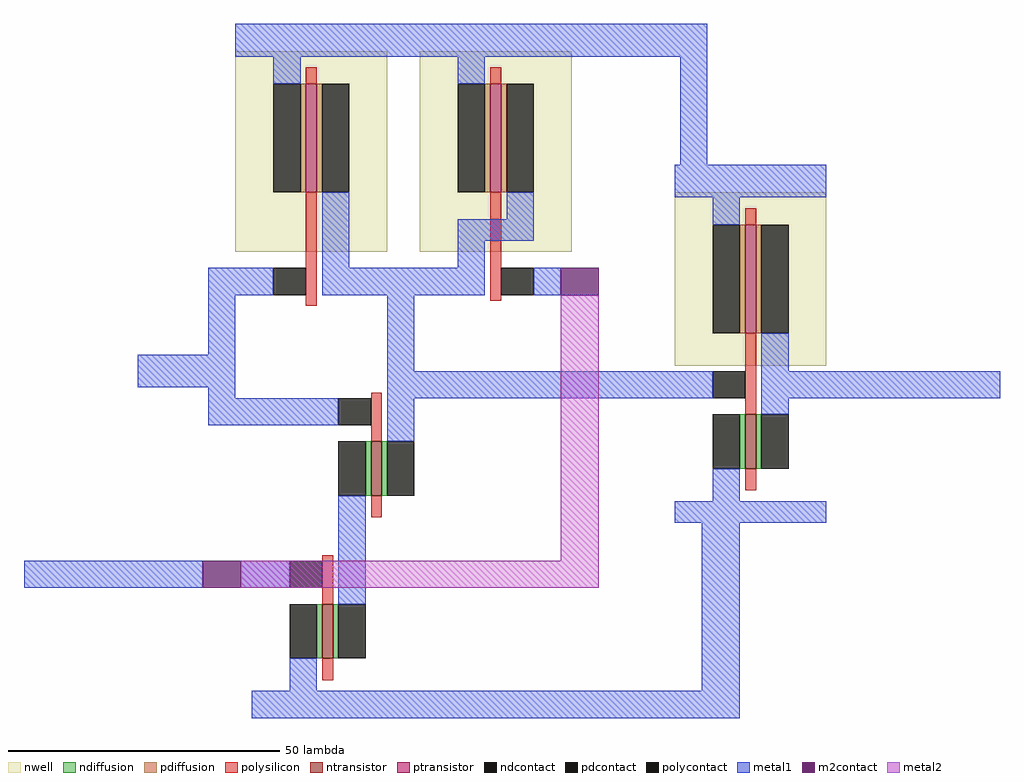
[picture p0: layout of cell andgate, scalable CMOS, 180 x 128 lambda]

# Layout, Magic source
magic
tech scmos
<< nwell >>
rect -76 50 -48 87
rect -42 50 -14 87
<< ntransistor >>
rect -51 5 -49 15
rect -60 -25 -58 -15
<< ptransistor >>
rect -63 61 -61 81
rect -29 61 -27 81
<< ndiffusion >>
rect -52 5 -51 15
rect -49 5 -48 15
rect -61 -25 -60 -15
rect -58 -25 -57 -15
<< pdiffusion >>
rect -64 61 -63 81
rect -61 61 -60 81
rect -30 61 -29 81
rect -27 61 -26 81
<< ndcontact >>
rect -57 5 -52 15
rect -48 5 -43 15
rect -66 -25 -61 -15
rect -57 -25 -52 -15
<< pdcontact >>
rect -69 61 -64 81
rect -60 61 -55 81
rect -35 61 -30 81
rect -26 61 -21 81
<< polysilicon >>
rect -63 81 -61 84
rect -29 81 -27 84
rect -63 40 -61 61
rect -29 41 -27 61
rect -51 15 -49 24
rect -51 1 -49 5
rect -60 -15 -58 -6
rect -60 -29 -58 -25
<< polycontact >>
rect -69 42 -63 47
rect -27 42 -21 47
rect -57 18 -51 23
rect -66 -12 -60 -7
<< metal1 >>
rect -76 86 11 92
rect -69 81 -64 86
rect -35 81 -30 86
rect 6 64 11 86
rect -60 47 -55 61
rect -26 56 -21 61
rect -35 52 -21 56
rect -35 47 -30 52
rect -81 42 -69 47
rect -60 42 -30 47
rect -21 42 -16 47
rect -81 31 -76 42
rect -94 25 -76 31
rect -81 23 -76 25
rect -48 28 -43 42
rect -48 23 0 28
rect 39 23 65 28
rect -81 18 -57 23
rect -48 15 -43 23
rect -115 -12 -82 -7
rect -75 -12 -66 -7
rect -57 -15 -52 5
rect -66 -31 -61 -25
rect 10 -31 17 4
rect -73 -36 17 -31
<< m2contact >>
rect -16 42 -9 47
rect -82 -12 -75 -7
<< metal2 >>
rect -16 -7 -9 42
rect -75 -12 -9 -7
use inverter  inverter_0
transform 1 0 18 0 1 36
box -18 -36 21 30
<< end >>

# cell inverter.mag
magic
tech scmos
<< nwell >>
rect -13 -7 15 25
<< ntransistor >>
rect 0 -26 2 -16
<< ptransistor >>
rect 0 -1 2 19
<< ndiffusion >>
rect -1 -26 0 -16
rect 2 -26 3 -16
<< pdiffusion >>
rect -1 -1 0 19
rect 2 -1 3 19
<< ndcontact >>
rect -6 -26 -1 -16
rect 3 -26 8 -16
<< pdcontact >>
rect -6 -1 -1 19
rect 3 -1 8 19
<< polysilicon >>
rect 0 19 2 22
rect 0 -16 2 -1
rect 0 -30 2 -26
<< polycontact >>
rect -6 -13 0 -8
<< metal1 >>
rect -13 24 15 30
rect -6 19 -1 24
rect 3 -8 8 -1
rect -18 -13 -6 -8
rect 3 -13 21 -8
rect 3 -16 8 -13
rect -6 -32 -1 -26
rect -13 -36 15 -32
<< end >>
